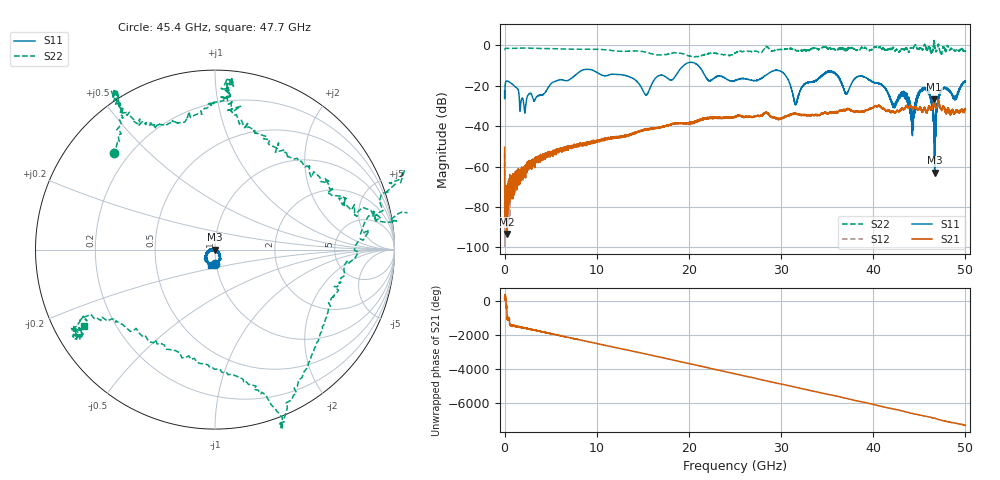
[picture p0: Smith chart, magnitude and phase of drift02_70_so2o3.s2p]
!Created with skrf (http://scikit-rf.org).
# Hz S RI R 50.0
!freq ReS11 ImS11 ReS21 ImS21 ReS12 ImS12 ReS22 ImS22
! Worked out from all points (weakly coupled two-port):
!   10001 points, 300 kHz to 50 GHz, reference 50 ohm
!   highest |S21| = -26.77 dB at 46.61 GHz (marker M1); lowest = -93.3 dB at 245.3 MHz (marker M2)
!   lowest |S11| = -63.0 dB at 46.67 GHz (marker M3), VSWR 1.00, Z = 50.1 + j0.0179 ohm
!   |S11| at or under -10 dB: start of sweep to 19.43 GHz; 21.00492 GHz to 21.00611 GHz (1.186 MHz wide, 0.00564 % of centre); 21.01 GHz to end of sweep
!   |S22| runs from -5.7 to 2.4 dB; largest |S21 - S12| = 0.0036
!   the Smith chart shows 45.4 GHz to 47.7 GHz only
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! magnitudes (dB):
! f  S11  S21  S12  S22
! 300 kHz  -22.4  -50.4  -53.5  -2.1
! 245.3 MHz  -17.6  -93.3  -71.1  -1.4
! 2.18 GHz  -33.5  -60.4  -62.7  -1.3
! 8.335 GHz  -12.5  -48.9  -49.1  -1.9
! 15.34 GHz  -24.5  -41.7  -41.5  -3.3
! 16.67 GHz  -15.1  -40.7  -40.8  -4.7
! 20.29 GHz  -8.4  -38.4  -38.0  -5.5
! 25 GHz  -17.4  -35.6  -35.3  -3.9
! 29.86 GHz  -12.6  -36.1  -36.4  -2.0
! 31.58 GHz  -29.0  -34.0  -34.0  -2.4
! 33.34 GHz  -18.0  -34.4  -34.4  -1.6
! 35.52 GHz  -13.1  -33.4  -33.2  -1.7
! 37.1 GHz  -24.1  -32.0  -31.7  -2.3
! 38.78 GHz  -15.3  -32.7  -32.7  -1.0
! 41.67 GHz  -24.4  -32.3  -32.3  -1.9
! 43.41 GHz  -24.2  -31.2  -31.2  -2.0
! 44.25 GHz  -37.3  -31.2  -30.9  -1.3
! 45.74 GHz  -21.0  -32.7  -32.9  -1.4
! 46.61 GHz  -40.7  -26.8  -26.9  2.4
! 46.67 GHz  -63.0  -28.9  -28.4  0.3
! 47.47 GHz  -21.7  -31.4  -31.7  -3.4
! 50 GHz  -17.9  -31.5  -31.4  -2.8
